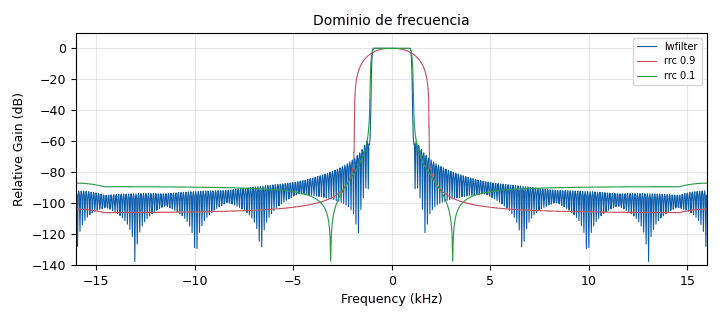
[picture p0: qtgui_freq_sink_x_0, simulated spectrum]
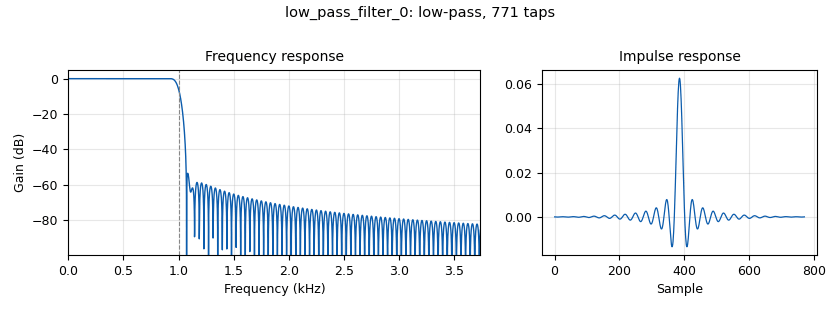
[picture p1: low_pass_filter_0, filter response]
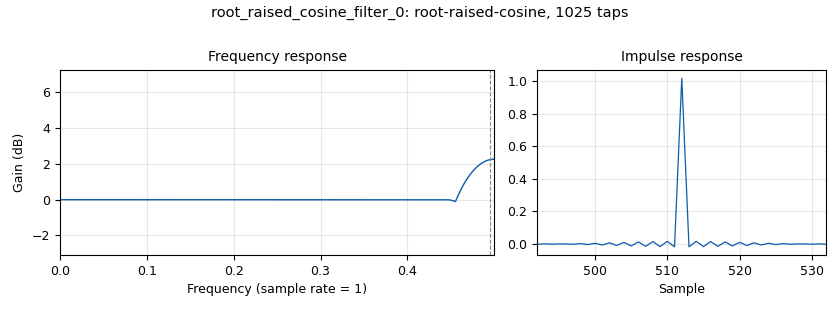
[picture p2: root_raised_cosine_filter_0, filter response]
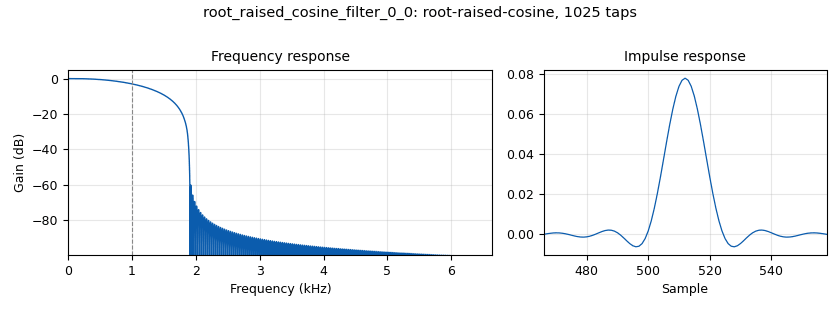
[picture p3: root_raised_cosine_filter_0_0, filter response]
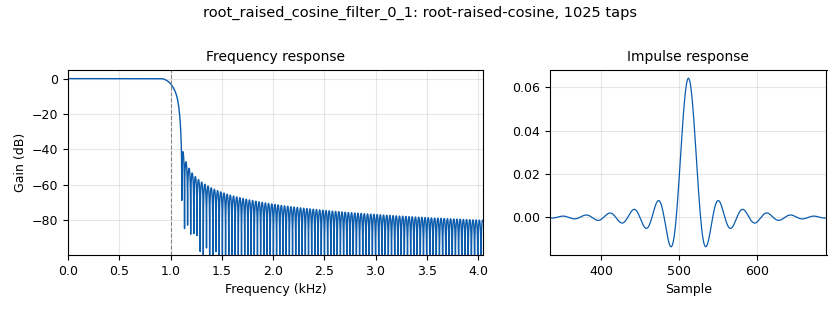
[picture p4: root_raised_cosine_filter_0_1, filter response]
options:
  parameters:
    generate_options: qt_gui
    id: actvidad1
    output_language: python
    title: Not titled yet
  states: {}

blocks:
- name: long_rrc1
  id: variable
  parameters:
    value: '1024'
  states: {}
- name: long_rrc2
  id: variable
  parameters:
    value: '1024'
  states: {}
- name: mezcla
  id: variable_qtgui_range
  parameters:
    label: frec-mez
    start: '-15e3'
    step: '500'
    stop: 15e3
    value: '50'
  states: {}
- name: samp_rate
  id: variable
  parameters:
    value: '32000'
  states: {}
- name: blocks_throttle2_0
  id: blocks_throttle2
  parameters:
    samples_per_second: samp_rate
    type: complex
  states: {}
- name: blocks_vector_source_x_0
  id: blocks_vector_source_x
  parameters:
    repeat: 'True'
    type: complex
    vector: '[1024] + [0]*(1024-1)'
  states: {}
- name: low_pass_filter_0
  id: low_pass_filter
  parameters:
    cutoff_freq: 1e3
    decim: '1'
    gain: '1'
    samp_rate: samp_rate
    type: fir_filter_ccf
    width: '100'
    win: window.WIN_HAMMING
  states: {}
- name: qtgui_freq_sink_x_0
  id: qtgui_freq_sink_x
  parameters:
    bw: samp_rate
    fc: '0'
    fftsize: '1024'
    label1: '"lwfilter"'
    label2: '''rrc 0.9'''
    label3: '''rrc 0.1'''
    name: '"Dominio de frecuencia"'
    nconnections: '3'
    type: complex
    wintype: window.WIN_RECTANGULAR
  states: {}
- name: root_raised_cosine_filter_0
  id: root_raised_cosine_filter
  parameters:
    alpha: '0.1'
    decim: '1'
    gain: '1'
    ntaps: '1024'
    samp_rate: '1'
    sym_rate: '0.99'
    type: fir_filter_ccf
  states: {}
- name: root_raised_cosine_filter_0_0
  id: root_raised_cosine_filter
  parameters:
    alpha: '0.9'
    decim: '1'
    gain: '1'
    ntaps: long_rrc1
    samp_rate: samp_rate
    sym_rate: 2e3
    type: fir_filter_ccf
  states: {}
- name: root_raised_cosine_filter_0_1
  id: root_raised_cosine_filter
  parameters:
    alpha: '0.1'
    decim: '1'
    gain: '1'
    ntaps: long_rrc2
    samp_rate: samp_rate
    sym_rate: 2e3
    type: fir_filter_ccf
  states: {}

connections:
- [blocks_throttle2_0, '0', root_raised_cosine_filter_0, '0']
- [blocks_vector_source_x_0, '0', blocks_throttle2_0, '0']
- [low_pass_filter_0, '0', qtgui_freq_sink_x_0, '0']
- [root_raised_cosine_filter_0, '0', low_pass_filter_0, '0']
- [root_raised_cosine_filter_0, '0', root_raised_cosine_filter_0_0, '0']
- [root_raised_cosine_filter_0, '0', root_raised_cosine_filter_0_1, '0']
- [root_raised_cosine_filter_0_0, '0', qtgui_freq_sink_x_0, '1']
- [root_raised_cosine_filter_0_1, '0', qtgui_freq_sink_x_0, '2']

metadata:
  file_format: 1
  grc_version: 3.10.12.0
